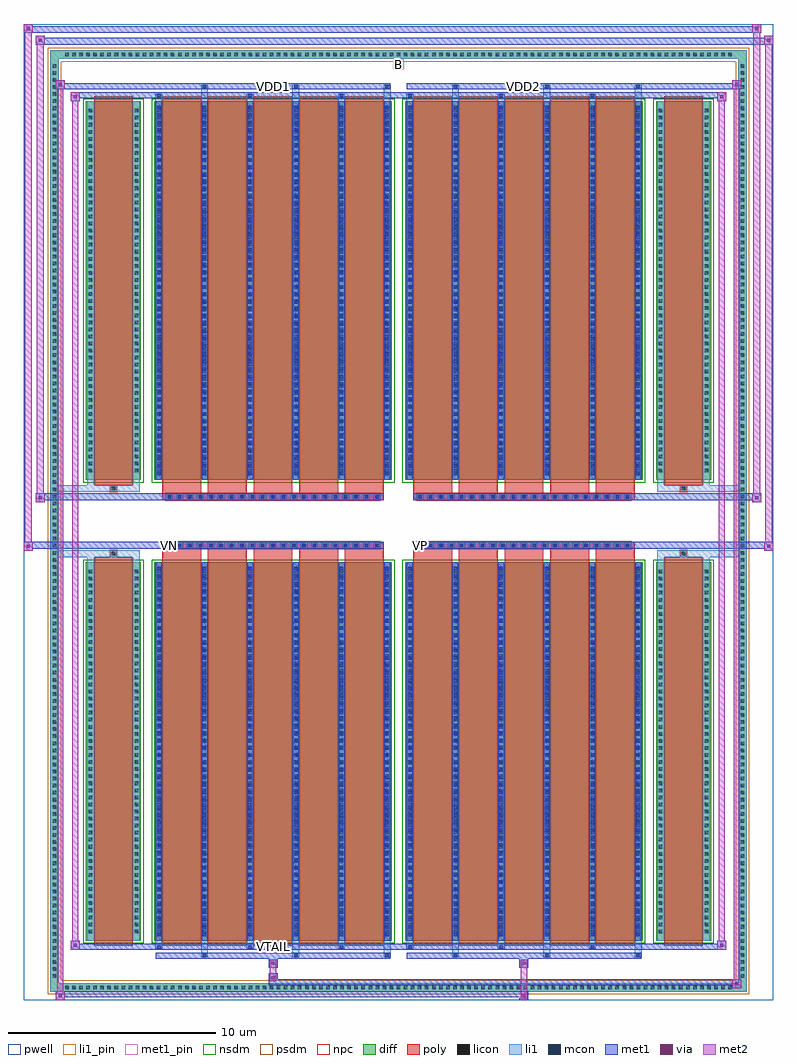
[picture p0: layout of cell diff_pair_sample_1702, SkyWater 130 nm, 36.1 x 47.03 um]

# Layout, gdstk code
import gdstk
lib = gdstk.Library(unit=1e-6, precision=5e-09)
def R(c, l, rs):  # rectangles x0, y0, x1, y1
    for r in rs: c.add(gdstk.rectangle(r[:2], r[2:], *l))
def A(c, l, x, y, w, h, nx, ny, dx, dy):  # array of equal rectangles
    R(c, l, [(x+i*dx, y+j*dy, x+i*dx+w, y+j*dy+h) for i in range(nx) for j in range(ny)])
def P(c, l, *ps):  # polygons
    for p in ps: c.add(gdstk.Polygon(p, *l))
pwell = (64, 44)
diff = (65, 20)
poly = (66, 20)
licon = (66, 44)
li1_pin = (67, 16)
li1 = (67, 20)
mcon = (67, 44)
met1_pin = (68, 16)
met1 = (68, 20)
via = (68, 44)
met2 = (69, 20)
nsdm = (93, 44)
psdm = (94, 20)
npc = (95, 20)

diff_pair_sample_1702 = lib.new_cell('diff_pair_sample_1702')
R(diff_pair_sample_1702, pwell, [(-18.05,-23.08,18.05,23.95), (-15.37,-21.27,-0.01,-0.805), (0.01,-21.27,15.37,-0.805), (-15.37,0.805,-0.01,21.27), (0.01,0.805,15.37,21.27)])
A(diff_pair_sample_1702, diff, -16.185, -22.68, 0.41, 0.41, 95, 2, 0.34, 44.95)
A(diff_pair_sample_1702, diff, -16.78, -22.135, 0.41, 0.41, 1, 130, 0, 0.34)
A(diff_pair_sample_1702, diff, 16.37, -22.135, 0.41, 0.41, 1, 130, 0, 0.34)
R(diff_pair_sample_1702, diff, [(-16.185,-22.68,16.185,-22.27), (-16.78,-22.135,-16.37,22.135), (16.37,-22.135,16.78,22.135), (-15.06,-20.225,-12.41,-1.985), (-11.77,-20.225,-0.32,-1.985), (0.32,-20.225,11.77,-1.985), (12.41,-20.225,15.06,-1.985), (-15.06,1.985,-12.41,20.225), (-11.77,1.985,-0.32,20.225), (0.32,1.985,11.77,20.225), (12.41,1.985,15.06,20.225), (-16.185,22.27,16.185,22.68)])
P(diff_pair_sample_1702, diff, [(16.78,22.68),(-16.78,22.68),(-16.78,-22.27),(-16.37,-22.27),(-16.37,22.27),(16.37,22.27),(16.37,-22.27),(-16.37,-22.27),(-16.78,-22.27),(-16.78,-22.68),(16.78,-22.68)])
A(diff_pair_sample_1702, poly, -11.38, -20.475, 1.87, 18.74, 5, 2, 2.2, 22.21)
A(diff_pair_sample_1702, poly, 0.71, -20.475, 1.87, 18.74, 5, 2, 2.2, 22.21)
A(diff_pair_sample_1702, poly, -11.38, -1.735, 1.87, 0.4, 5, 2, 2.2, 3.07)
A(diff_pair_sample_1702, poly, 0.71, -1.735, 1.87, 0.4, 5, 2, 2.2, 3.07)
A(diff_pair_sample_1702, poly, -11.21, -1.335, 0.33, 0.33, 21, 2, 0.5, 2.34)
A(diff_pair_sample_1702, poly, 0.88, -1.335, 0.33, 0.33, 21, 2, 0.5, 2.34)
R(diff_pair_sample_1702, poly, [(-14.67,-20.475,-12.8,-1.735), (12.8,-20.475,14.67,-1.735), (-13.9,-1.735,-13.57,-1.405), (-13.9,-1.735,-13.57,-1.405), (13.57,-1.735,13.9,-1.405), (13.57,-1.735,13.9,-1.405), (-11.38,-1.335,-0.71,-1.005), (0.71,-1.335,11.38,-1.005), (-11.38,1.005,-0.71,1.335), (0.71,1.005,11.38,1.335), (-13.9,1.405,-13.57,1.735), (-13.9,1.405,-13.57,1.735), (13.57,1.405,13.9,1.735), (13.57,1.405,13.9,1.735), (-14.67,1.735,-12.8,20.475), (12.8,1.735,14.67,20.475)])
A(diff_pair_sample_1702, licon, -16.065, -22.56, 0.17, 0.17, 95, 2, 0.34, 44.95)
A(diff_pair_sample_1702, licon, -16.66, -22.015, 0.17, 0.17, 1, 130, 0, 0.34)
A(diff_pair_sample_1702, licon, 16.49, -22.015, 0.17, 0.17, 1, 130, 0, 0.34)
A(diff_pair_sample_1702, licon, -14.92, -19.86, 0.17, 0.17, 1, 52, 0, 0.34)
A(diff_pair_sample_1702, licon, -12.72, -19.86, 0.17, 0.17, 1, 52, 0, 0.34)
A(diff_pair_sample_1702, licon, -11.63, -19.86, 0.17, 0.17, 6, 52, 2.2, 0.34)
A(diff_pair_sample_1702, licon, 0.46, -19.86, 0.17, 0.17, 6, 52, 2.2, 0.34)
A(diff_pair_sample_1702, licon, 12.55, -19.86, 0.17, 0.17, 1, 52, 0, 0.34)
A(diff_pair_sample_1702, licon, 14.75, -19.86, 0.17, 0.17, 1, 52, 0, 0.34)
A(diff_pair_sample_1702, licon, -11.13, -1.255, 0.17, 0.17, 21, 2, 0.5, 2.34)
A(diff_pair_sample_1702, licon, 0.96, -1.255, 0.17, 0.17, 21, 2, 0.5, 2.34)
A(diff_pair_sample_1702, licon, -14.92, 2.35, 0.17, 0.17, 1, 52, 0, 0.34)
A(diff_pair_sample_1702, licon, -12.72, 2.35, 0.17, 0.17, 1, 52, 0, 0.34)
A(diff_pair_sample_1702, licon, -11.63, 2.35, 0.17, 0.17, 6, 52, 2.2, 0.34)
A(diff_pair_sample_1702, licon, 0.46, 2.35, 0.17, 0.17, 6, 52, 2.2, 0.34)
A(diff_pair_sample_1702, licon, 12.55, 2.35, 0.17, 0.17, 1, 52, 0, 0.34)
A(diff_pair_sample_1702, licon, 14.75, 2.35, 0.17, 0.17, 1, 52, 0, 0.34)
R(diff_pair_sample_1702, licon, [(-13.82,-1.655,-13.65,-1.485), (13.65,-1.655,13.82,-1.485), (-13.82,1.485,-13.65,1.655), (13.65,1.485,13.82,1.655)])
R(diff_pair_sample_1702, li1_pin, [(-0.25,21.77,0.25,22.27)])
A(diff_pair_sample_1702, li1, -16.145, -22.64, 0.33, 0.33, 95, 2, 0.34, 44.95)
A(diff_pair_sample_1702, li1, -16.74, -22.095, 0.33, 0.33, 1, 130, 0, 0.34)
A(diff_pair_sample_1702, li1, 16.41, -22.095, 0.33, 0.33, 1, 130, 0, 0.34)
A(diff_pair_sample_1702, li1, -9.51, -21.03, 0.33, 0.805, 3, 2, 4.4, 41.255)
A(diff_pair_sample_1702, li1, -9.43, -21.03, 0.17, 0.17, 3, 2, 4.4, 41.89)
A(diff_pair_sample_1702, li1, 2.58, -21.03, 0.33, 0.805, 3, 2, 4.4, 41.255)
A(diff_pair_sample_1702, li1, 2.66, -21.03, 0.17, 0.17, 3, 2, 4.4, 41.89)
A(diff_pair_sample_1702, li1, -11.71, -20.6, 0.33, 0.375, 3, 2, 4.4, 40.825)
A(diff_pair_sample_1702, li1, -11.63, -20.6, 0.17, 0.17, 3, 2, 4.4, 41.03)
A(diff_pair_sample_1702, li1, 0.38, -20.6, 0.33, 0.375, 3, 2, 4.4, 40.825)
A(diff_pair_sample_1702, li1, 0.46, -20.6, 0.17, 0.17, 3, 2, 4.4, 41.03)
A(diff_pair_sample_1702, li1, -11.71, -20.225, 0.33, 18.24, 6, 2, 2.2, 22.21)
A(diff_pair_sample_1702, li1, 0.38, -20.225, 0.33, 18.24, 6, 2, 2.2, 22.21)
A(diff_pair_sample_1702, li1, -11.63, -20.01, 0.17, 0.17, 6, 50, 2.2, 0.36)
A(diff_pair_sample_1702, li1, -11.63, -20.01, 0.17, 17.81, 6, 2, 2.2, 22.21)
A(diff_pair_sample_1702, li1, 0.46, -20.01, 0.17, 0.17, 6, 50, 2.2, 0.36)
A(diff_pair_sample_1702, li1, 0.46, -20.01, 0.17, 17.81, 6, 2, 2.2, 22.21)
A(diff_pair_sample_1702, li1, -15, -19.94, 0.33, 0.33, 1, 52, 0, 0.34)
A(diff_pair_sample_1702, li1, -12.8, -19.94, 0.33, 0.33, 1, 52, 0, 0.34)
A(diff_pair_sample_1702, li1, -11.71, -19.94, 0.33, 0.33, 6, 52, 2.2, 0.34)
A(diff_pair_sample_1702, li1, 0.38, -19.94, 0.33, 0.33, 6, 52, 2.2, 0.34)
A(diff_pair_sample_1702, li1, 12.47, -19.94, 0.33, 0.33, 1, 52, 0, 0.34)
A(diff_pair_sample_1702, li1, 14.67, -19.94, 0.33, 0.33, 1, 52, 0, 0.34)
A(diff_pair_sample_1702, li1, -11.21, -1.335, 0.33, 0.33, 21, 2, 0.5, 2.34)
A(diff_pair_sample_1702, li1, 0.88, -1.335, 0.33, 0.33, 21, 2, 0.5, 2.34)
A(diff_pair_sample_1702, li1, -11.63, 2.2, 0.17, 0.17, 6, 50, 2.2, 0.36)
A(diff_pair_sample_1702, li1, 0.46, 2.2, 0.17, 0.17, 6, 50, 2.2, 0.36)
A(diff_pair_sample_1702, li1, -15, 2.27, 0.33, 0.33, 1, 52, 0, 0.34)
A(diff_pair_sample_1702, li1, -12.8, 2.27, 0.33, 0.33, 1, 52, 0, 0.34)
A(diff_pair_sample_1702, li1, -11.71, 2.27, 0.33, 0.33, 6, 52, 2.2, 0.34)
A(diff_pair_sample_1702, li1, 0.38, 2.27, 0.33, 0.33, 6, 52, 2.2, 0.34)
A(diff_pair_sample_1702, li1, 12.47, 2.27, 0.33, 0.33, 1, 52, 0, 0.34)
A(diff_pair_sample_1702, li1, 14.67, 2.27, 0.33, 0.33, 1, 52, 0, 0.34)
R(diff_pair_sample_1702, li1, [(-16.78,-22.68,-16.37,-22.27), (-16.78,-22.68,-16.37,-22.27), (-16.37,-22.68,16.37,-22.27), (16.37,-22.68,16.78,-22.27), (16.37,-22.68,16.78,-22.27), (-16.78,-22.27,-16.37,22.27), (16.37,-22.27,16.78,22.27), (-15,-20.225,-14.67,-1.985), (-12.8,-20.225,-12.47,-1.985), (12.47,-20.225,12.8,-1.985), (14.67,-20.225,15,-1.985), (-15,-1.985,-14.67,-1.405), (-12.8,-1.985,-12.47,-1.405), (12.47,-1.985,12.8,-1.405), (14.67,-1.985,15,-1.405), (-16.78,-1.735,-13.9,-1.405), (-15,-1.735,-13.9,-1.405), (-13.9,-1.735,-13.57,-1.405), (-13.57,-1.735,-12.47,-1.405), (12.47,-1.735,13.57,-1.405), (13.57,-1.735,13.9,-1.405), (13.57,-1.735,16.78,-1.405), (13.9,-1.735,15,-1.405), (-16.78,1.405,-13.9,1.735), (-15,1.405,-13.9,1.735), (-15,1.405,-14.67,1.985), (-13.9,1.405,-13.57,1.735), (-13.57,1.405,-12.47,1.735), (-12.8,1.405,-12.47,1.985), (12.47,1.405,13.57,1.735), (12.47,1.405,12.8,1.985), (13.57,1.405,13.9,1.735), (13.57,1.405,16.78,1.735), (13.9,1.405,15,1.735), (14.67,1.405,15,1.985), (-15,1.985,-14.67,20.225), (-12.8,1.985,-12.47,20.225), (12.47,1.985,12.8,20.225), (14.67,1.985,15,20.225), (-16.78,22.27,-16.37,22.68), (-16.78,22.27,-16.37,22.68), (-16.37,22.27,16.37,22.68), (16.37,22.27,16.78,22.68), (16.37,22.27,16.78,22.68)])
A(diff_pair_sample_1702, mcon, -9.43, -21.03, 0.17, 0.17, 3, 2, 4.4, 41.89)
A(diff_pair_sample_1702, mcon, 2.66, -21.03, 0.17, 0.17, 3, 2, 4.4, 41.89)
A(diff_pair_sample_1702, mcon, -11.63, -20.6, 0.17, 0.17, 3, 2, 4.4, 41.03)
A(diff_pair_sample_1702, mcon, 0.46, -20.6, 0.17, 0.17, 3, 2, 4.4, 41.03)
A(diff_pair_sample_1702, mcon, -11.63, -20.01, 0.17, 0.17, 6, 50, 2.2, 0.36)
A(diff_pair_sample_1702, mcon, 0.46, -20.01, 0.17, 0.17, 6, 50, 2.2, 0.36)
A(diff_pair_sample_1702, mcon, -11.13, -1.255, 0.17, 0.17, 21, 2, 0.5, 2.34)
A(diff_pair_sample_1702, mcon, 0.96, -1.255, 0.17, 0.17, 21, 2, 0.5, 2.34)
A(diff_pair_sample_1702, mcon, -11.63, 2.2, 0.17, 0.17, 6, 50, 2.2, 0.36)
A(diff_pair_sample_1702, mcon, 0.46, 2.2, 0.17, 0.17, 6, 50, 2.2, 0.36)
R(diff_pair_sample_1702, met1_pin, [(-6.18,-20.64,-5.91,-20.37), (-11.18,-1.295,-10.91,-1.025), (0.91,-1.295,1.18,-1.025), (-6.18,20.82,-5.91,21.09), (5.91,20.82,6.18,21.09)])
A(diff_pair_sample_1702, met1, -9.49, -21.09, 0.29, 0.29, 3, 2, 4.4, 41.89)
A(diff_pair_sample_1702, met1, 2.6, -21.09, 0.29, 0.29, 3, 2, 4.4, 41.89)
A(diff_pair_sample_1702, met1, -11.69, -20.66, 0.29, 0.29, 3, 2, 4.4, 41.03)
A(diff_pair_sample_1702, met1, 0.4, -20.66, 0.29, 0.29, 3, 2, 4.4, 41.03)
A(diff_pair_sample_1702, met1, -11.69, -20.225, 0.29, 18.24, 6, 2, 2.2, 22.21)
A(diff_pair_sample_1702, met1, 0.4, -20.225, 0.29, 18.24, 6, 2, 2.2, 22.21)
A(diff_pair_sample_1702, met1, -11.69, -20.07, 0.29, 0.29, 6, 50, 2.2, 0.36)
A(diff_pair_sample_1702, met1, 0.4, -20.07, 0.29, 0.29, 6, 50, 2.2, 0.36)
A(diff_pair_sample_1702, met1, -11.19, -1.315, 0.29, 0.29, 21, 2, 0.5, 2.34)
A(diff_pair_sample_1702, met1, 0.9, -1.315, 0.29, 0.29, 21, 2, 0.5, 2.34)
A(diff_pair_sample_1702, met1, -11.69, 2.14, 0.29, 0.29, 6, 50, 2.2, 0.36)
A(diff_pair_sample_1702, met1, 0.4, 2.14, 0.29, 0.29, 6, 50, 2.2, 0.36)
R(diff_pair_sample_1702, met1, [(-16.51,-23.08,-16.08,-22.65), (5.83,-23.08,6.26,-22.65), (-16.51,-22.94,6.26,-22.65), (16.08,-22.51,16.51,-22.08), (-6.26,-22.37,16.51,-22.08), (-6.26,-22.23,-5.83,-21.8), (-6.26,-21.52,-5.83,-21.09), (5.83,-21.52,6.26,-21.09), (-11.69,-21.09,-0.4,-20.8), (0.4,-21.09,11.69,-20.8), (-15.8,-20.66,-15.37,-20.23), (-15.8,-20.66,-11.69,-20.37), (-11.69,-20.66,-0.4,-20.37), (-0.4,-20.66,0.4,-20.37), (0.4,-20.66,11.69,-20.37), (11.69,-20.66,15.8,-20.37), (15.37,-20.66,15.8,-20.23), (-18.05,-1.435,-17.62,-1.005), (17.62,-1.435,18.05,-1.005), (-18.05,-1.335,-0.71,-1.005), (-11.38,-1.335,-0.71,-1.005), (0.71,-1.335,11.38,-1.005), (0.71,-1.335,18.05,-1.005), (-17.48,0.905,-17.05,1.335), (17.05,0.905,17.48,1.335), (-17.48,1.005,-11.38,1.335), (-11.38,1.005,-0.71,1.335), (0.71,1.005,11.38,1.335), (11.38,1.005,17.48,1.335), (-15.8,20.23,-15.37,20.66), (15.37,20.23,15.8,20.66), (-15.8,20.37,-11.69,20.66), (-11.69,20.37,-0.4,20.66), (-0.4,20.37,0.4,20.66), (0.4,20.37,11.69,20.66), (11.69,20.37,15.8,20.66), (-16.51,20.8,-16.08,21.23), (-16.51,20.8,-11.69,21.09), (-11.69,20.8,-0.4,21.09), (0.4,20.8,11.69,21.09), (11.69,20.8,16.51,21.09), (16.08,20.8,16.51,21.23), (-17.48,22.95,-17.05,23.38), (-17.48,22.95,-15.37,23.28), (-15.37,22.95,15.37,23.28), (15.37,22.95,18.05,23.28), (17.62,22.95,18.05,23.38), (-18.05,23.52,-17.62,23.95), (-18.05,23.52,-15.37,23.85), (-15.37,23.52,15.37,23.85), (15.37,23.52,17.48,23.85), (17.05,23.52,17.48,23.95)])
R(diff_pair_sample_1702, via, [(-16.37,-22.94,-16.22,-22.79), (5.97,-22.94,6.12,-22.79), (16.22,-22.37,16.37,-22.22), (-6.12,-22.09,-5.97,-21.94), (-6.12,-21.38,-5.97,-21.23), (5.97,-21.38,6.12,-21.23), (-15.66,-20.52,-15.51,-20.37), (15.51,-20.52,15.66,-20.37), (-17.91,-1.295,-17.76,-1.145), (17.76,-1.295,17.91,-1.145), (-17.34,1.045,-17.19,1.195), (17.19,1.045,17.34,1.195), (-15.66,20.37,-15.51,20.52), (15.51,20.37,15.66,20.52), (-16.37,20.94,-16.22,21.09), (16.22,20.94,16.37,21.09), (-17.34,23.09,-17.19,23.24), (17.76,23.09,17.91,23.24), (-17.91,23.66,-17.76,23.81), (17.19,23.66,17.34,23.81)])
R(diff_pair_sample_1702, met2, [(-16.51,-23.08,-16.08,-22.65), (-16.44,-23.08,-16.15,21.23), (-16.15,-23.08,-16.08,-22.65), (-16.46,-23.03,-16.13,-22.7), (5.88,-23.03,6.21,-22.7), (5.88,-22.7,6.21,-21.47), (16.08,-22.51,16.51,-22.08), (16.15,-22.51,16.44,21.23), (16.44,-22.51,16.51,-22.08), (16.13,-22.46,16.46,-22.13), (-6.21,-22.18,-5.88,-21.85), (-6.21,-21.85,-5.88,-21.47), (-6.21,-21.47,-5.88,-21.14), (5.88,-21.47,6.21,-21.14), (-15.8,-20.66,-15.37,-20.23), (-15.73,-20.66,-15.44,20.66), (-15.44,-20.66,-15.37,-20.23), (15.37,-20.66,15.8,-20.23), (15.44,-20.66,15.73,20.66), (15.73,-20.66,15.8,-20.23), (-15.75,-20.61,-15.42,-20.28), (15.42,-20.61,15.75,-20.28), (-18.05,-1.435,-17.62,-1.005), (-18,-1.435,-17.67,23.95), (-17.67,-1.435,-17.62,-1.005), (17.62,-1.435,18.05,-1.005), (17.67,-1.435,18,23.38), (18,-1.435,18.05,-1.005), (-18,-1.385,-17.67,-1.055), (17.67,-1.385,18,-1.055), (-17.48,0.905,-17.05,1.335), (-17.43,0.905,-17.1,23.38), (-17.1,0.905,-17.05,1.335), (17.05,0.905,17.48,1.335), (17.1,0.905,17.43,23.95), (17.43,0.905,17.48,1.335), (-17.43,0.955,-17.1,1.285), (17.1,0.955,17.43,1.285), (-15.8,20.23,-15.37,20.66), (-15.44,20.23,-15.37,20.66), (15.37,20.23,15.8,20.66), (15.73,20.23,15.8,20.66), (-15.75,20.28,-15.42,20.61), (15.42,20.28,15.75,20.61), (-16.51,20.8,-16.08,21.23), (-16.15,20.8,-16.08,21.23), (16.08,20.8,16.51,21.23), (16.44,20.8,16.51,21.23), (-16.46,20.85,-16.13,21.18), (16.13,20.85,16.46,21.18), (-17.48,22.95,-17.05,23.38), (-17.1,22.95,-17.05,23.38), (17.62,22.95,18.05,23.38), (18,22.95,18.05,23.38), (-17.43,23,-17.1,23.33), (17.67,23,18,23.33), (-18.05,23.52,-17.62,23.95), (-17.67,23.52,-17.62,23.95), (17.05,23.52,17.48,23.95), (17.43,23.52,17.48,23.95), (-18,23.57,-17.67,23.9), (17.1,23.57,17.43,23.9)])
R(diff_pair_sample_1702, nsdm, [(-15.19,-20.355,-12.28,-1.855), (-11.9,-20.355,-0.19,-1.855), (0.19,-20.355,11.9,-1.855), (12.28,-20.355,15.19,-1.855), (-15.19,1.855,-12.28,20.355), (-11.9,1.855,-0.19,20.355), (0.19,1.855,11.9,20.355), (12.28,1.855,15.19,20.355)])
P(diff_pair_sample_1702, psdm, [(16.91,22.81),(-16.91,22.81),(-16.91,-22.14),(-16.24,-22.14),(-16.24,22.14),(16.24,22.14),(16.24,-22.14),(-16.24,-22.14),(-16.91,-22.14),(-16.91,-22.81),(16.91,-22.81)])
A(diff_pair_sample_1702, npc, -11.23, -1.355, 0.37, 0.37, 21, 2, 0.5, 2.34)
A(diff_pair_sample_1702, npc, 0.86, -1.355, 0.37, 0.37, 21, 2, 0.5, 2.34)
R(diff_pair_sample_1702, npc, [(-13.92,-1.755,-13.55,-1.385), (13.55,-1.755,13.92,-1.385), (-11.23,-1.355,-10.36,-0.985), (-11.23,-1.355,-10.36,-0.985), (-10.73,-1.355,-9.86,-0.985), (-10.73,-1.355,-9.86,-0.985), (-10.23,-1.355,-9.36,-0.985), (-10.23,-1.355,-9.36,-0.985), (-9.73,-1.355,-8.86,-0.985), (-9.73,-1.355,-8.86,-0.985), (-9.23,-1.355,-8.36,-0.985), (-9.23,-1.355,-8.36,-0.985), (-8.73,-1.355,-7.86,-0.985), (-8.73,-1.355,-7.86,-0.985), (-8.23,-1.355,-7.36,-0.985), (-8.23,-1.355,-7.36,-0.985), (-7.73,-1.355,-6.86,-0.985), (-7.73,-1.355,-6.86,-0.985), (-7.23,-1.355,-6.36,-0.985), (-7.23,-1.355,-6.36,-0.985), (-6.73,-1.355,-5.86,-0.985), (-6.73,-1.355,-5.86,-0.985), (-6.23,-1.355,-5.36,-0.985), (-6.23,-1.355,-5.36,-0.985), (-5.73,-1.355,-4.86,-0.985), (-5.73,-1.355,-4.86,-0.985), (-5.23,-1.355,-4.36,-0.985), (-5.23,-1.355,-4.36,-0.985), (-4.73,-1.355,-3.86,-0.985), (-4.73,-1.355,-3.86,-0.985), (-4.23,-1.355,-3.36,-0.985), (-4.23,-1.355,-3.36,-0.985), (-3.73,-1.355,-2.86,-0.985), (-3.73,-1.355,-2.86,-0.985), (-3.23,-1.355,-2.36,-0.985), (-3.23,-1.355,-2.36,-0.985), (-2.73,-1.355,-1.86,-0.985), (-2.73,-1.355,-1.86,-0.985), (-2.23,-1.355,-1.36,-0.985), (-2.23,-1.355,-1.36,-0.985), (-1.73,-1.355,-0.86,-0.985), (-1.73,-1.355,-0.86,-0.985), (0.86,-1.355,1.73,-0.985), (0.86,-1.355,1.73,-0.985), (1.36,-1.355,2.23,-0.985), (1.36,-1.355,2.23,-0.985), (1.86,-1.355,2.73,-0.985), (1.86,-1.355,2.73,-0.985), (2.36,-1.355,3.23,-0.985), (2.36,-1.355,3.23,-0.985), (2.86,-1.355,3.73,-0.985), (2.86,-1.355,3.73,-0.985), (3.36,-1.355,4.23,-0.985), (3.36,-1.355,4.23,-0.985), (3.86,-1.355,4.73,-0.985), (3.86,-1.355,4.73,-0.985), (4.36,-1.355,5.23,-0.985), (4.36,-1.355,5.23,-0.985), (4.86,-1.355,5.73,-0.985), (4.86,-1.355,5.73,-0.985), (5.36,-1.355,6.23,-0.985), (5.36,-1.355,6.23,-0.985), (5.86,-1.355,6.73,-0.985), (5.86,-1.355,6.73,-0.985), (6.36,-1.355,7.23,-0.985), (6.36,-1.355,7.23,-0.985), (6.86,-1.355,7.73,-0.985), (6.86,-1.355,7.73,-0.985), (7.36,-1.355,8.23,-0.985), (7.36,-1.355,8.23,-0.985), (7.86,-1.355,8.73,-0.985), (7.86,-1.355,8.73,-0.985), (8.36,-1.355,9.23,-0.985), (8.36,-1.355,9.23,-0.985), (8.86,-1.355,9.73,-0.985), (8.86,-1.355,9.73,-0.985), (9.36,-1.355,10.23,-0.985), (9.36,-1.355,10.23,-0.985), (9.86,-1.355,10.73,-0.985), (9.86,-1.355,10.73,-0.985), (10.36,-1.355,11.23,-0.985), (10.36,-1.355,11.23,-0.985), (-11.23,0.985,-10.36,1.355), (-11.23,0.985,-10.36,1.355), (-10.73,0.985,-9.86,1.355), (-10.73,0.985,-9.86,1.355), (-10.23,0.985,-9.36,1.355), (-10.23,0.985,-9.36,1.355), (-9.73,0.985,-8.86,1.355), (-9.73,0.985,-8.86,1.355), (-9.23,0.985,-8.36,1.355), (-9.23,0.985,-8.36,1.355), (-8.73,0.985,-7.86,1.355), (-8.73,0.985,-7.86,1.355), (-8.23,0.985,-7.36,1.355), (-8.23,0.985,-7.36,1.355), (-7.73,0.985,-6.86,1.355), (-7.73,0.985,-6.86,1.355), (-7.23,0.985,-6.36,1.355), (-7.23,0.985,-6.36,1.355), (-6.73,0.985,-5.86,1.355), (-6.73,0.985,-5.86,1.355), (-6.23,0.985,-5.36,1.355), (-6.23,0.985,-5.36,1.355), (-5.73,0.985,-4.86,1.355), (-5.73,0.985,-4.86,1.355), (-5.23,0.985,-4.36,1.355), (-5.23,0.985,-4.36,1.355), (-4.73,0.985,-3.86,1.355), (-4.73,0.985,-3.86,1.355), (-4.23,0.985,-3.36,1.355), (-4.23,0.985,-3.36,1.355), (-3.73,0.985,-2.86,1.355), (-3.73,0.985,-2.86,1.355), (-3.23,0.985,-2.36,1.355), (-3.23,0.985,-2.36,1.355), (-2.73,0.985,-1.86,1.355), (-2.73,0.985,-1.86,1.355), (-2.23,0.985,-1.36,1.355), (-2.23,0.985,-1.36,1.355), (-1.73,0.985,-0.86,1.355), (-1.73,0.985,-0.86,1.355), (0.86,0.985,1.73,1.355), (0.86,0.985,1.73,1.355), (1.36,0.985,2.23,1.355), (1.36,0.985,2.23,1.355), (1.86,0.985,2.73,1.355), (1.86,0.985,2.73,1.355), (2.36,0.985,3.23,1.355), (2.36,0.985,3.23,1.355), (2.86,0.985,3.73,1.355), (2.86,0.985,3.73,1.355), (3.36,0.985,4.23,1.355), (3.36,0.985,4.23,1.355), (3.86,0.985,4.73,1.355), (3.86,0.985,4.73,1.355), (4.36,0.985,5.23,1.355), (4.36,0.985,5.23,1.355), (4.86,0.985,5.73,1.355), (4.86,0.985,5.73,1.355), (5.36,0.985,6.23,1.355), (5.36,0.985,6.23,1.355), (5.86,0.985,6.73,1.355), (5.86,0.985,6.73,1.355), (6.36,0.985,7.23,1.355), (6.36,0.985,7.23,1.355), (6.86,0.985,7.73,1.355), (6.86,0.985,7.73,1.355), (7.36,0.985,8.23,1.355), (7.36,0.985,8.23,1.355), (7.86,0.985,8.73,1.355), (7.86,0.985,8.73,1.355), (8.36,0.985,9.23,1.355), (8.36,0.985,9.23,1.355), (8.86,0.985,9.73,1.355), (8.86,0.985,9.73,1.355), (9.36,0.985,10.23,1.355), (9.36,0.985,10.23,1.355), (9.86,0.985,10.73,1.355), (9.86,0.985,10.73,1.355), (10.36,0.985,11.23,1.355), (10.36,0.985,11.23,1.355), (-13.92,1.385,-13.55,1.755), (13.55,1.385,13.92,1.755)])
diff_pair_sample_1702.add(gdstk.Label('VTAIL', (-6.045,-20.505), layer=68, texttype=5))
diff_pair_sample_1702.add(gdstk.Label('VN', (-11.045,-1.16), layer=68, texttype=5))
diff_pair_sample_1702.add(gdstk.Label('VP', (1.045,-1.16), layer=68, texttype=5))
diff_pair_sample_1702.add(gdstk.Label('B', (0,22.02), layer=67, texttype=5))
diff_pair_sample_1702.add(gdstk.Label('VDD2', (6.045,20.955), layer=68, texttype=5))
diff_pair_sample_1702.add(gdstk.Label('VDD1', (-6.045,20.955), layer=68, texttype=5))

lib.write_gds('diff_pair_sample_1702.gds')
